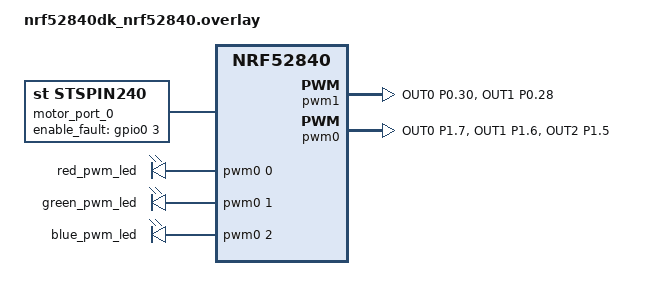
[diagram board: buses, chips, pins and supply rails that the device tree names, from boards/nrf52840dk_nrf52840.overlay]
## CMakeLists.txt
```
#
# Copyright (c) 2019 Nordic Semiconductor
#
# SPDX-License-Identifier: LicenseRef-Nordic-5-Clause
#

cmake_minimum_required(VERSION 3.20.0)

if(EXISTS "${CMAKE_CURRENT_SOURCE_DIR}/dev_options.conf")
    message(WARNING "Using dev_options.conf. Ensure any critical settings are moved to prj.conf before committing to source control.")
    list(APPEND CONF_FILE "${CMAKE_CURRENT_SOURCE_DIR}/dev_options.conf")
endif()

find_package(Zephyr REQUIRED HINTS $ENV{ZEPHYR_BASE})
project(mesh_bot)

# Include application application event headers
zephyr_library_include_directories(src/events)

# NORDIC SDK APP START
target_sources(app PRIVATE 
    src/main.c
)

include_directories(
    src
)

add_subdirectory(src/modules)
add_subdirectory(src/events)
add_subdirectory(drivers)
# NORDIC SDK APP END
```

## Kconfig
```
#
# Copyright (c) 2021 Nordic Semiconductor ASA
#
# SPDX-License-Identifier: LicenseRef-Nordic-5-Clause
#

menu "Mesh robot"

config MESH_ROBOT_VERSION
	string "Mesh robot firmware version"
	default "0.0.0-development"

config MESH_ROBOT_VERSION_MAX_LEN
	int "Maximum length of the application firmware version"
	default 150

rsource "src/events/Kconfig"
rsource "src/modules/Kconfig"
rsource "drivers/tb6612fng/Kconfig"
rsource "drivers/stspin240/Kconfig"

endmenu

menu "Zephyr Kernel"
source "Kconfig.zephyr"
endmenu

module = APPLICATION_MODULE
module-str = Application module
source "subsys/logging/Kconfig.template.log_config"
```

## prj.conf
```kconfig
#
# Copyright (c) 2019 Nordic Semiconductor ASA
#
# SPDX-License-Identifier: LicenseRef-Nordic-5-Clause
#


# Logger configuration
CONFIG_LOG=y
CONFIG_LOG_DEFAULT_LEVEL=4
CONFIG_LOG_BACKEND_UART=y
CONFIG_MESH_MODULE_LOG_LEVEL_DBG=y
CONFIG_LOG_MESH_MODULE_EVENT=y
CONFIG_MOTOR_MODULE_LOG_LEVEL_DBG=y
CONFIG_LOG_MOTOR_MODULE_EVENT=y


# Configuration required by Application Event Manager
CONFIG_APP_EVENT_MANAGER=y
# CONFIG_HEAP_MEM_POOL_SIZE=2048
# CONFIG_REBOOT=y

# Memory
CONFIG_MAIN_STACK_SIZE=4096
CONFIG_HEAP_MEM_POOL_SIZE=2048

# NewLib C
CONFIG_NEWLIB_LIBC=y

CONFIG_DEBUG_OPTIMIZATIONS=y
CONFIG_DEBUG_THREAD_INFO=y

# PWM
CONFIG_PWM=y
CONFIG_GPIO=y

# Motors
CONFIG_STSPIN240=y
CONFIG_STSPIN240_DRIVER_LOG_LEVEL_DBG=y
CONFIG_STSPIN240_MOTOR_DRIVER_LOG_LEVEL_DBG=y

CONFIG_SETTINGS=y
CONFIG_HWINFO=y

CONFIG_SYSTEM_WORKQUEUE_STACK_SIZE=2048
CONFIG_FLASH=y
CONFIG_FLASH_MAP=y
CONFIG_NVS=y
CONFIG_SETTINGS=y
CONFIG_HWINFO=y
CONFIG_DK_LIBRARY=y
CONFIG_PARTITION_MANAGER_ENABLED=y
CONFIG_PM_SINGLE_IMAGE=y
CONFIG_PM_PARTITION_SIZE_SETTINGS_STORAGE=0x8000

CONFIG_DK_LIBRARY=y

# Bluetooth
CONFIG_BT=y
CONFIG_BT_COMPANY_ID=0x0059
CONFIG_BT_DEVICE_NAME="Mesh bot"
CONFIG_BT_L2CAP_TX_MTU=69
CONFIG_BT_L2CAP_TX_BUF_COUNT=8
CONFIG_BT_OBSERVER=y
CONFIG_BT_PERIPHERAL=y
CONFIG_BT_SETTINGS=y
CONFIG_BT_RX_STACK_SIZE=4096

# Bluetooth mesh
CONFIG_BT_MESH=y
CONFIG_BT_MESH_RELAY=y
CONFIG_BT_MESH_FRIEND=y
CONFIG_BT_MESH_ADV_BUF_COUNT=13
CONFIG_BT_MESH_RX_SEG_MAX=10
CONFIG_BT_MESH_TX_SEG_MAX=10
CONFIG_BT_MESH_PB_GATT=y
CONFIG_BT_MESH_GATT_PROXY=y
CONFIG_BT_MESH_DK_PROV=y
CONFIG_BT_MESH_CFG_CLI=y
CONFIG_BT_MESH_MODEL_EXTENSIONS=y

CONFIG_BT_MESH_ROBOT_SRV=y
CONFIG_BT_MESH_LIGHT_RGB_SRV=y
```

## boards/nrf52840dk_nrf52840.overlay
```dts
&uart1 {
    status = "disabled";
};

&spi1 {
    status = "disabled";
};

&i2c0 {
    status = "disabled";
};

&i2c1 {
    status = "disabled";
};

&pinctrl {
    pwm1_default_alt: pwm1_default_alt {
        group1 {
            psels = <NRF_PSEL(PWM_OUT0, 0, 30)>,
                    <NRF_PSEL(PWM_OUT1, 0, 28)>;
        };
    };
    pwm1_sleep_alt: pwm1_sleep_alt {
        group1 {
            psels = <NRF_PSEL(PWM_OUT0, 0, 30)>,
                    <NRF_PSEL(PWM_OUT1, 0, 28)>;
            low-power-enable;
        };
    };

    pwm0_default_alt: pwm0_default_alt {
        group1 {
            psels = <NRF_PSEL(PWM_OUT0, 1, 7)>,
                    <NRF_PSEL(PWM_OUT1, 1, 6)>,
                    <NRF_PSEL(PWM_OUT2, 1, 5)>;
        };
    };
    pwm0_sleep_alt: pwm0_sleep_alt {
        group1 {
            psels = <NRF_PSEL(PWM_OUT0, 1, 7)>,
                    <NRF_PSEL(PWM_OUT1, 1, 6)>,
                    <NRF_PSEL(PWM_OUT2, 1, 5)>;
            low-power-enable;
        };
    };
};

&pwm1 {
    status = "okay";
    pinctrl-0 = <&pwm1_default_alt>;
    pinctrl-1 = <&pwm1_sleep_alt>;
    pinctrl-names = "default", "sleep";
};

&pwm0 {
    status = "okay";
    pinctrl-0 = <&pwm0_default_alt>;
    pinctrl-1 = <&pwm0_sleep_alt>;
    pinctrl-names = "default", "sleep";
};

/{

    aliases {
        motora = &motor_0_a;
        motorb = &motor_0_b;
		red-pwm-led = &red_pwm_led;
		green-pwm-led = &green_pwm_led;
		blue-pwm-led = &blue_pwm_led;
    };

    motor_port0: motor_port0{
        compatible = "st,stspin240";
        status = "okay";
        label = "motor_port_0";
        enable_fault-gpios = <&gpio0 3 0>;

        motor_0_a: motor_a {
            compatible = "st,stspin240-motor";
            status = "okay";
            pwms = <&pwm1 0 PWM_HZ(50) PWM_POLARITY_NORMAL>;
            phase-gpios = <&gpio0 29 0>;
        };

        motor_0_b: motor_b {
            compatible = "st,stspin240-motor";
            status = "okay";
            pwms = <&pwm1 1 PWM_HZ(50) PWM_POLARITY_NORMAL>;
            phase-gpios = <&gpio0 4 0>;
        };
    };

    pwmleds {
        compatible = "pwm-leds";
        red_pwm_led: pwm_led_0 {
            pwms = <&pwm0 0 PWM_HZ(120) PWM_POLARITY_NORMAL>;
        };
        green_pwm_led: pwm_led_1 {
            pwms = <&pwm0 1 PWM_HZ(120) PWM_POLARITY_NORMAL>;
        };
        blue_pwm_led: pwm_led_2 {
            pwms = <&pwm0 2 PWM_HZ(120) PWM_POLARITY_NORMAL>;
        };
    };

};
```

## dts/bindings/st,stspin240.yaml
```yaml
# Bindings for STMicroelectronics STSPIN240 dual brushed dc driver

compatible: "st,stspin240"
description: "Dual brushed DC motor driver"

include: "base.yaml"

properties:
  enable_fault-gpios: 
    type: phandle-array
    required: false
    description: "Enables the device when set high, indicates fault when pulled low by the driver IC"
  
  standby_reset-gpios:
    type: phandle-array
    required: false
    description: "Forces device into low consumption mode when forced low."

  pwms:
    type: phandle-array
    required: false
    description: "PWM used as a voltage reference for the current limiter."
  


child-binding:
  compatible: "st,stspin240-motor"
  description: Brushed DC Motor driven by st,stspin240

  include: "base.yaml"

  properties:
    pwms:
      type: phandle-array
      required: true
      description: "Motor power pwm."
    
    phase-gpios:
      type: phandle-array
      required: true
      description: "Motor phase control pin. Used to set the direction of the motor."
```

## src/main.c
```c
/*
 * Copyright (c) 2019 Nordic Semiconductor ASA
 *
 * SPDX-License-Identifier: LicenseRef-Nordic-5-Clause
 */

#include <app_event_manager.h>
#include <zephyr/logging/log.h>

#define MODULE main

LOG_MODULE_REGISTER(MODULE);

void main(void)
{
	if (app_event_manager_init()) {
		LOG_ERR("Application Event Manager not initialized");
	}
}
```
